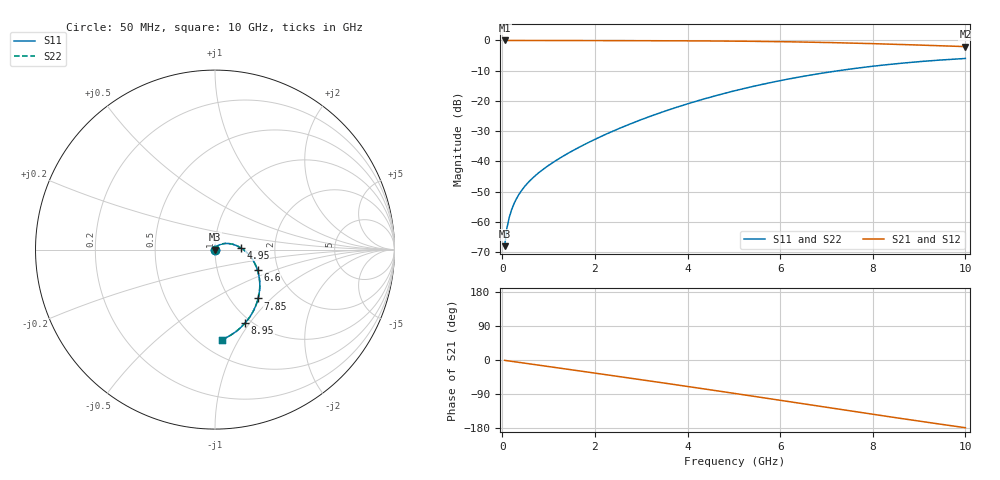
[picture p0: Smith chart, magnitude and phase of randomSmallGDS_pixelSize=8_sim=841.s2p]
! freq	dB(S11)	phase(S11)	dB(S12)	phase(S12)
!  dB(S21)	phase(S21)	dB(S22)	phase(S22)
!S-par simulation data
#  GHz  S  DB  R 50
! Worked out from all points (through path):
!   200 points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, 50 MHz to 10 GHz, reference 50 ohm
!   highest |S21| = 0.00 dB at 50 MHz (marker M1); lowest = -2.0 dB at 10 GHz (marker M2)
!   group delay of S21, straight-line fit = 50 ps
!   lowest |S11| = -68.0 dB at 50 MHz (marker M3), VSWR 1.00, Z = 50 + j0.0395 ohm
!   |S11| at or under -10 dB: start of sweep to 7.257 GHz
!   |S22| runs from -68.0 to -6.0 dB; largest |S21 - S12| = 0
!   S11 on the Smith chart (normalised r, x): 50 MHz: 1.00, +0.00; 4.95 GHz: 1.33, +0.03; 6.6 GHz: 1.56, -0.39; 7.85 GHz: 1.33, -0.84; 8.95 GHz: 0.93, -0.95; 10 GHz: 0.64, -0.85
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0.05  -68.01 83.5  -0.00 -0.9  -0.00 -0.9  -68.01 83.5
0.1  -62.02 85.2  -0.00 -1.7  -0.00 -1.7  -62.02 85.2
0.15  -58.51 85.1  -0.00 -2.6  -0.00 -2.6  -58.51 85.1
0.2  -56.01 84.5  -0.00 -3.5  -0.00 -3.5  -56.01 84.5
0.3  -52.48 83.1  -0.00 -5.2  -0.00 -5.2  -52.48 83.1
0.45  -48.91 80.7  -0.01 -7.8  -0.01 -7.8  -48.91 80.8
0.65  -45.57 77.7  -0.01 -11.3  -0.01 -11.3  -45.57 77.8
0.95  -41.84 73.4  -0.02 -16.4  -0.02 -16.4  -41.84 73.4
1.3  -38.37 68.1  -0.03 -22.5  -0.03 -22.5  -38.37 68.2
1.75  -34.59 60.9  -0.04 -30.3  -0.04 -30.3  -34.59 61.0
2.55  -28.93 47.3  -0.06 -44.2  -0.06 -44.2  -28.93 47.3
3.4  -23.96 32.2  -0.09 -59.1  -0.09 -59.1  -23.96 32.3
4.2  -20.03 17.9  -0.14 -73.4  -0.14 -73.4  -20.03 17.9
4.95  -16.90 4.3  -0.22 -87.0  -0.22 -87.0  -16.90 4.3
5.05  -16.52 2.5  -0.23 -88.8  -0.23 -88.8  -16.51 2.5
5.8  -13.91 -11.2  -0.36 -102.6  -0.36 -102.6  -13.91 -11.2
6.6  -11.59 -25.9  -0.55 -117.4  -0.55 -117.4  -11.59 -25.9
6.7  -11.33 -27.7  -0.58 -119.2  -0.58 -119.2  -11.33 -27.7
7.85  -8.80 -48.6  -0.99 -140.5  -0.99 -140.5  -8.80 -48.6
8.35  -7.94 -57.5  -1.21 -149.6  -1.21 -149.6  -7.94 -57.4
8.95  -7.07 -67.9  -1.50 -160.4  -1.50 -160.4  -7.07 -67.9
10  -5.97 -85.5  -2.03 -178.7  -2.03 -178.7  -5.97 -85.5
